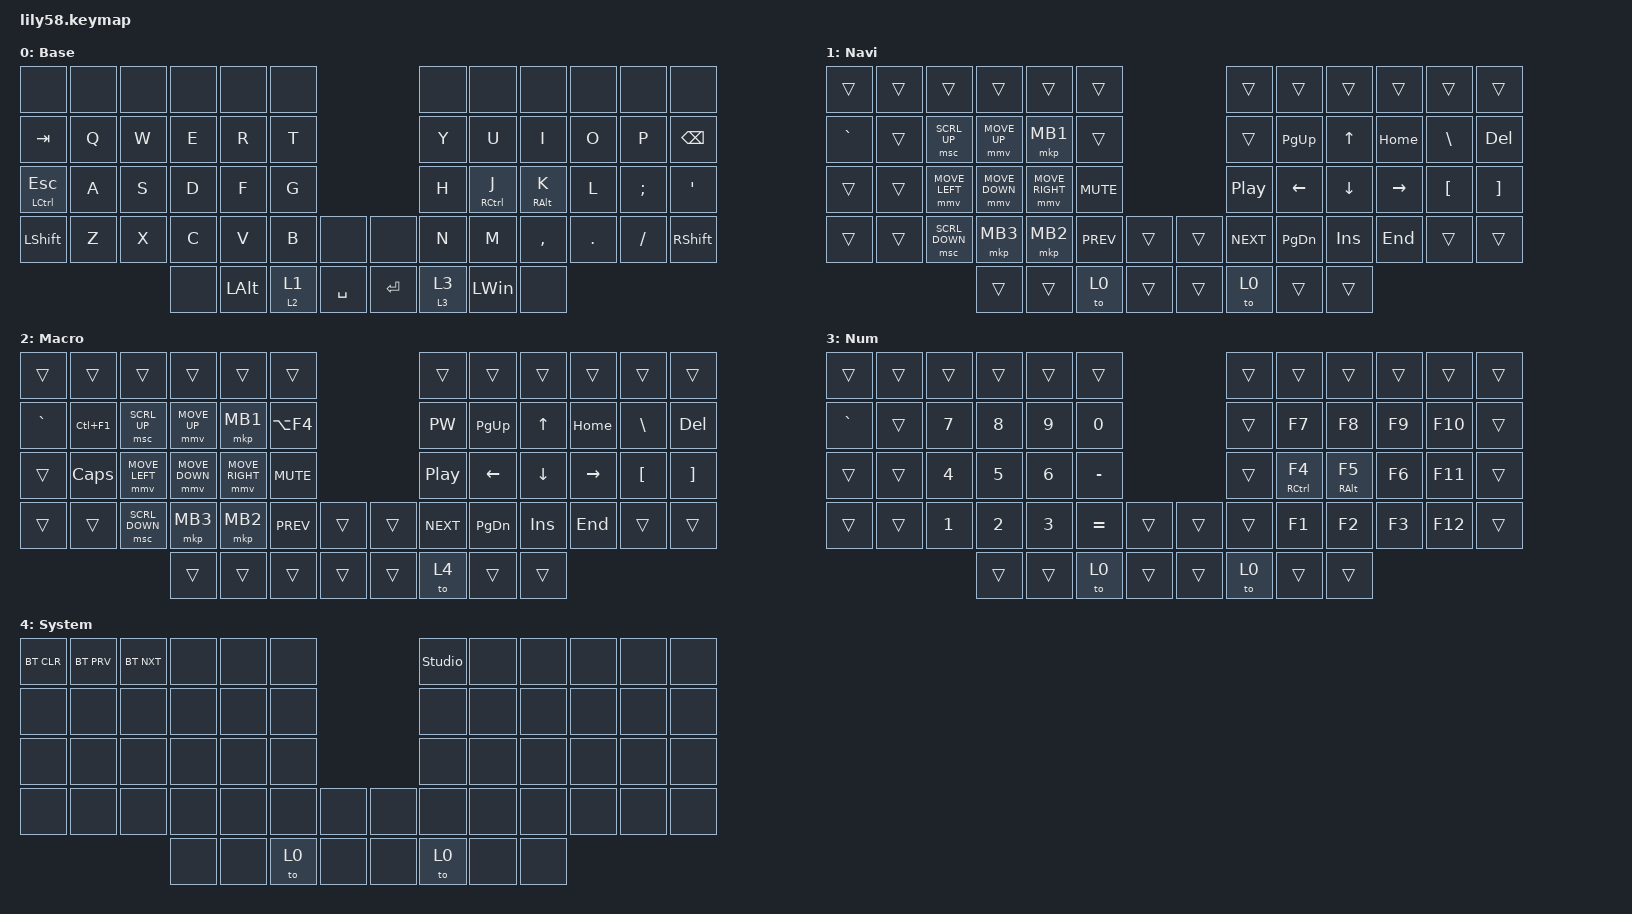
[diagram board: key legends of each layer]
/*
 * Copyright (c) 2020 The ZMK Contributors
 *
 * SPDX-License-Identifier: MIT
 */

#define ZMK_POINTING_DEFAULT_MOVE_VAL 1200

#include <behaviors.dtsi>
#include <dt-bindings/zmk/bt.h>
#include <dt-bindings/zmk/keys.h>
#include <dt-bindings/zmk/pointing.h>

#define base_layer   0
#define lower_layer  1
#define navi_layer   2
#define adjust_layer 3
#define macro_layer  4

&mt { tapping-term-ms = <140>; };

&mmv { delay-ms = <200>; };

/ {
    behaviors {
        mo_tog: mo_tog {
            compatible = "zmk,behavior-hold-tap";
            label = "Hold for momentary and tap for toggle";
            bindings = <&mo>, <&tog>;

            #binding-cells = <2>;
            tapping-term-ms = <150>;
        };

        hr_mt: hr_mt {
            compatible = "zmk,behavior-hold-tap";
            label = "Home row hold tap";
            #binding-cells = <2>;
            tapping-term-ms = <200>;
            quick-tap-ms = <200>;
            bindings = <&kp>, <&kp>;

            flavor = "tap-preferred";
        };
    };

    macros {
        CAD: CAD {
            compatible = "zmk,behavior-macro";
            #binding-cells = <0>;
            bindings = <&kp LC(LA(DEL))>;
            label = "CAD";
        };

        #include "secret_macros.dtsi"
    };

    keymap {
        compatible = "zmk,keymap";

        base_layer {
            display-name = "Base";

            // ------------------------------------------------------------------------------------------------------------
            // |  `   |  1   |  2   |  3   |  4   |  5   |                |  6   |  7   |  8   |  9   |  0   |  -   |
            // | TAB  |  Q   |  W   |  E   |  R   |  T   |                |  Y   |  U   |  I   |  O   |  P   |  =   |
            // | CTRL |  A   |  S   |  D   |  F   |  G   |                |  H   |  J   |  K   |  L   |  ;   |  '   |
            // |SHIFT |  Z   |  X   |  C   |  V   |  B   | "["  |  | "]"  |  N   |  M   |  ,   |  .   |  /   |SHIFT |
            //                      | ALT  | GUI  |LOWER |SPACE |  |ENTER | NAVI | BSPC | DEL  |

            bindings = <
&none             &none  &none  &none  &none     &none                              &none        &none           &none               &none    &none     &none
&kp TAB           &kp Q  &kp W  &kp E  &kp R     &kp T                              &kp Y        &kp U           &kp I               &kp O    &kp P     &kp BSPC
&mt LCTRL ESCAPE  &kp A  &kp S  &kp D  &kp F     &kp G                              &kp H        &hr_mt RCTRL J  &hr_mt RIGHT_ALT K  &kp L    &kp SEMI  &kp SQT
&kp LSHFT         &kp Z  &kp X  &kp C  &kp V     &kp B        &none        &none    &kp N        &kp M           &kp COMMA           &kp DOT  &kp FSLH  &kp RSHFT
                                &none  &kp LALT  &mo_tog 2 1  &kp SPACE    &kp RET  &mo_tog 3 3  &kp LWIN        &none
            >;
        };

        navi_layer {
            display-name = "Navi";

            // ------------------------------------------------------------------------------------------------------------
            // |      |      |      |      |      |      |                |      | PREV | P/P  | NEXT | MUTE |      |
            // |      |      | WHL↑ |  M↑  |  M1  |      |                |      | PGUP |  ↑   | HOME |      |  \   |
            // |      |      |  M←  |  M↓  |  M→  |      |                |      |  ←   |  ↓   |  →   |      |      |
            // |      |      | WHL↓ |  M3  |  M2  |      |      |  |      |      | PGDN | INS  | END  |      |      |
            //                      |      |      | BASE |      |  |      | BASE |      |      |

            bindings = <
&trans     &trans  &trans          &trans          &trans           &trans                        &trans            &trans     &trans    &trans     &trans    &trans
&kp GRAVE  &trans  &msc SCRL_UP    &mmv MOVE_UP    &mkp MB1         &trans                        &trans            &kp PG_UP  &kp UP    &kp HOME   &kp BSLH  &kp DEL
&trans     &trans  &mmv MOVE_LEFT  &mmv MOVE_DOWN  &mmv MOVE_RIGHT  &kp C_MUTE                    &kp C_PLAY_PAUSE  &kp LEFT   &kp DOWN  &kp RIGHT  &kp LBKT  &kp RBKT
&trans     &trans  &msc SCRL_DOWN  &mkp MB3        &mkp MB2         &kp C_PREV  &trans    &trans  &kp C_NEXT        &kp PG_DN  &kp INS   &kp END    &trans    &trans
                                   &trans          &trans           &to 0       &trans    &trans  &to 0             &trans     &trans
            >;
        };

        macro_layer {
            display-name = "Macro";

            // ------------------------------------------------------------------------------------------------------------
            // | CAPS |LC(F1)|      |      |LA(F4)|  F5  |                |  PW  | PREV | P/P  | NEXT | MUTE | CAD  |
            // |      |      | WHL↑ |  M↑  |  M1  |      |                |      | PGUP |  ↑   | HOME |      |  \   |
            // |      |      |  M←  |  M↓  |  M→  |      |                |      |  ←   |  ↓   |  →   |      |      |
            // |      |      | WHL↓ |  M3  |  M2  |      |      |  |      |      | PGDN | INS  | END  |      |      |
            //                      |      |      |      |      |  |      | ADJ  |      |      |

            bindings = <
&trans     &trans      &trans          &trans          &trans           &trans                        &trans            &trans     &trans    &trans     &trans    &trans
&kp GRAVE  &kp LC(F1)  &msc SCRL_UP    &mmv MOVE_UP    &mkp MB1         &kp LA(F4)                    &PW               &kp PG_UP  &kp UP    &kp HOME   &kp BSLH  &kp DEL
&trans     &kp CAPS    &mmv MOVE_LEFT  &mmv MOVE_DOWN  &mmv MOVE_RIGHT  &kp C_MUTE                    &kp C_PLAY_PAUSE  &kp LEFT   &kp DOWN  &kp RIGHT  &kp LBKT  &kp RBKT
&trans     &trans      &msc SCRL_DOWN  &mkp MB3        &mkp MB2         &kp C_PREV  &trans    &trans  &kp C_NEXT        &kp PG_DN  &kp INS   &kp END    &trans    &trans
                                       &trans          &trans           &trans      &trans    &trans  &to 4             &trans     &trans
            >;
        };

        num_layer {
            display-name = "Num";

            // ------------------------------------------------------------------------------------------------------------
            // |      |  F1  |  F2  |  F3  |  F4  |  F5  |                |  F6  |  F7  |  F8  |  F9  | F10  | F11  |
            // |      |      | WHL↑ |  M↑  |  M1  |      |                |      | PGUP |  ↑   | HOME |      | F12  |
            // |      |      |  M←  |  M↓  |  M→  |      |                |      |  ←   |  ↓   |  →   |      |      |
            // |      |      | WHL↓ |  M3  |  M2  |      |      |  |      |      | PGDN | INS  | END  |      |      |
            //                      |      |      | BASE |      |  |      | BASE |      |      |

            bindings = <
&trans     &trans  &trans  &trans  &trans  &trans                       &trans  &trans           &trans          &trans  &trans   &trans
&kp GRAVE  &trans  &kp N7  &kp N8  &kp N9  &kp N0                       &trans  &kp F7           &kp F8          &kp F9  &kp F10  &trans
&trans     &trans  &kp N4  &kp N5  &kp N6  &kp MINUS                    &trans  &hr_mt RCTRL F4  &hr_mt RALT F5  &kp F6  &kp F11  &trans
&trans     &trans  &kp N1  &kp N2  &kp N3  &kp EQUAL  &trans    &trans  &trans  &kp F1           &kp F2          &kp F3  &kp F12  &trans
                           &trans  &trans  &to 0      &trans    &trans  &to 0   &trans           &trans
            >;
        };

        system_layer {
            display-name = "System";

            // ------------------------------------------------------------------------------------------------------------
            // |BT_CLR|BT_PRV|BT_NXT|      |      |      |                |UNLOCK|      |      |      |      |      |
            // |      |      |      |      |      |      |                |      |      |      |      |      |      |
            // |      |      |      |      |      |      |                |      |      |      |      |      |      |
            // |      |      |      |      |      |      |      |  |      |      |      |      |      |      |      |
            //                      |      |      | BASE |      |  |      | BASE |      |      |

            bindings = <
&bt BT_CLR  &bt BT_PRV  &bt BT_NXT  &none  &none  &none                  &studio_unlock  &none  &none  &none  &none  &none
&none       &none       &none       &none  &none  &none                  &none           &none  &none  &none  &none  &none
&none       &none       &none       &none  &none  &none                  &none           &none  &none  &none  &none  &none
&none       &none       &none       &none  &none  &none  &none    &none  &none           &none  &none  &none  &none  &none
                                    &none  &none  &to 0  &none    &none  &to 0           &none  &none
            >;
        };
    };
};
